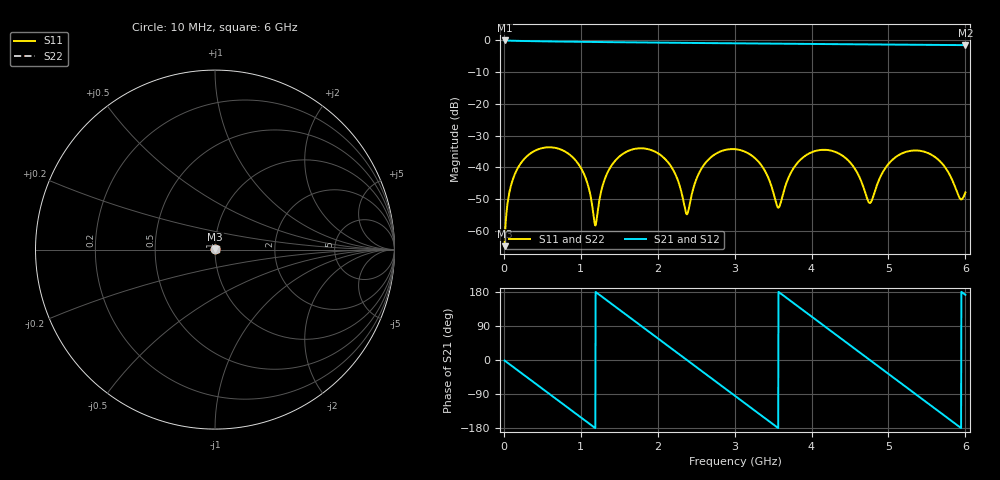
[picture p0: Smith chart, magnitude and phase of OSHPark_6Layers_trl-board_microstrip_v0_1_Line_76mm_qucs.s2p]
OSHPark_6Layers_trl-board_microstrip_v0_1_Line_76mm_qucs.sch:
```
<Qucs Schematic 0.0.19>
<Properties>
  <View=-103,-301,1501,599,1,0,0>
  <Grid=10,10,1>
  <DataSet=OSHPark_6Layers_trl-board_microstrip_v0_1_Line_76mm_qucs.dat>
  <DataDisplay=OSHPark_6Layers_trl-board_microstrip_v0_1_Line_76mm_qucs.dpl>
  <OpenDisplay=1>
  <Script=OSHPark_6Layers_trl-board_microstrip_v0_1_Line_76mm_qucs.m>
  <RunScript=0>
  <showFrame=0>
  <FrameText0=Title>
  <FrameText1=Drawn By:>
  <FrameText2=Date:>
  <FrameText3=Revision:>
</Properties>
<Symbol>
</Symbol>
<Components>
  <Eqn Eqn1 1 230 -40 -30 16 0 0 "S11dB=dB(S[1,1])" 1 "S21dB=dB(S[2,1])" 1 "S21phase=phase(S[2,1])" 1 "yes" 0>
  <Eqn EqnTC1 1 430 -40 -23 12 0 0 "A=twoport(S,'S','A')" 1 "ZL=real(sqrt(A[1,2]/A[2,1]))" 1 "yes" 0>
  <SUBST Subst1 1 460 -230 -30 24 0 0 "3.66" 1 "0.11 mm" 1 "18 um" 1 "0.01" 1 "1.72e-08" 1 "0.1 um" 1>
  <GND * 1 310 -130 0 0 0 0>
  <GND * 1 70 -130 0 0 0 0>
  <Pac P1 1 70 -180 -74 -26 1 1 "1" 1 "50 Ohm" 1 "0 dBm" 0 "1 GHz" 0 "26.85" 0>
  <Pac P2 1 310 -170 18 -26 0 1 "2" 1 "50 Ohm" 1 "0 dBm" 0 "1 GHz" 0 "26.85" 0>
  <MLIN MS1 1 200 -260 -26 15 0 0 "Subst1" 1 "0.216 mm" 1 "76 mm" 1 "Hammerstad" 0 "Kirschning" 0 "25" 0>
  <.SP SP1 1 40 -70 0 63 0 0 "lin" 1 "0.01 GHz" 1 "6 GHz" 1 "1601" 1 "no" 0 "1" 0 "2" 0 "no" 0 "no" 0>
</Components>
<Wires>
  <310 -140 310 -130 "" 0 0 0 "">
  <70 -150 70 -130 "" 0 0 0 "">
  <310 -260 310 -200 "" 0 0 0 "">
  <230 -260 310 -260 "" 0 0 0 "">
  <70 -260 70 -210 "" 0 0 0 "">
  <70 -260 170 -260 "" 0 0 0 "">
</Wires>
<Diagrams>
  <Rect 640 76 814 346 3 #c0c0c0 1 00 1 0 2e+09 2e+10 1 -75.5285 10 -27.8096 1 -1 0.5 1 315 0 225 "" "" "">
	<"S11dB" #ff0000 0 3 0 0 0>
  </Rect>
  <Rect 640 503 816 383 3 #c0c0c0 1 00 1 0 0.2 1 1 -0.1 0.5 1.1 1 -0.1 0.5 1.1 315 0 225 "" "" "">
	<"S21dB" #0000ff 0 3 0 0 0>
  </Rect>
  <Rect 10 489 568 369 3 #c0c0c0 1 00 1 0 0.2 1 1 -0.1 0.5 1.1 1 -0.1 0.5 1.1 315 0 225 "" "" "">
	<"ZL" #0000ff 0 3 0 0 0>
  </Rect>
</Diagrams>
<Paintings>
</Paintings>
```
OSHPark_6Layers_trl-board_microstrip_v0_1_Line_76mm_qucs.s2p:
# HZ S RI R 50
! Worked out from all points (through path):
!   1601 points, 10 MHz to 6 GHz, reference 50 ohm
!   highest |S21| = -0.04 dB at 10 MHz (marker M1); lowest = -1.5 dB at 6 GHz (marker M2)
!   group delay of S21, straight-line fit = 420 ps
!   lowest |S11| = -64.8 dB at 10 MHz (marker M3), VSWR 1.00, Z = 50 + j0.0563 ohm
!   |S11| at or under -10 dB: start of sweep to end of sweep
!   |S22| runs from -64.8 to -33.7 dB; largest |S21 - S12| = 0
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1e7  0.000108 0.000563  0.9953 -0.0263  0.9953 -0.0263  0.000108 0.000563
4.293e8  0.0172 0.00773  0.4099 -0.8766  0.4099 -0.8766  0.0172 0.00773
1.129381e9  0.00166 -0.00301  -0.9316 -0.1502  -0.9316 -0.1502  0.00166 -0.00301
1.844438e9  0.0195 -0.00284  0.1449 0.9126  0.1449 0.9126  0.0195 -0.00284
2.379794e9  0.00182 7.78e-06  0.9113 -0.000398  0.9113 -0.000398  0.00182 7.78e-06
3.005e9  0.0193 -0.00139  -0.0725 -0.8942  -0.0725 -0.8942  0.0193 -0.00139
3.570306e9  0.00231 5.71e-05  -0.8855 0.00301  -0.8855 0.00301  0.00231 5.71e-05
4.105662e9  0.0185 0.00247  -0.1333 0.8645  -0.1333 0.8645  0.0185 0.00247
4.816975e9  0.00314 0.00243  0.851 -0.1337  0.851 -0.1337  0.00314 0.00243
5.382281e9  0.0183 -0.00122  -0.0672 -0.8483  -0.0672 -0.8483  0.0183 -0.00122
6e9  0.00344 0.0021  -0.832 0.1183  -0.832 0.1183  0.00344 0.0021
